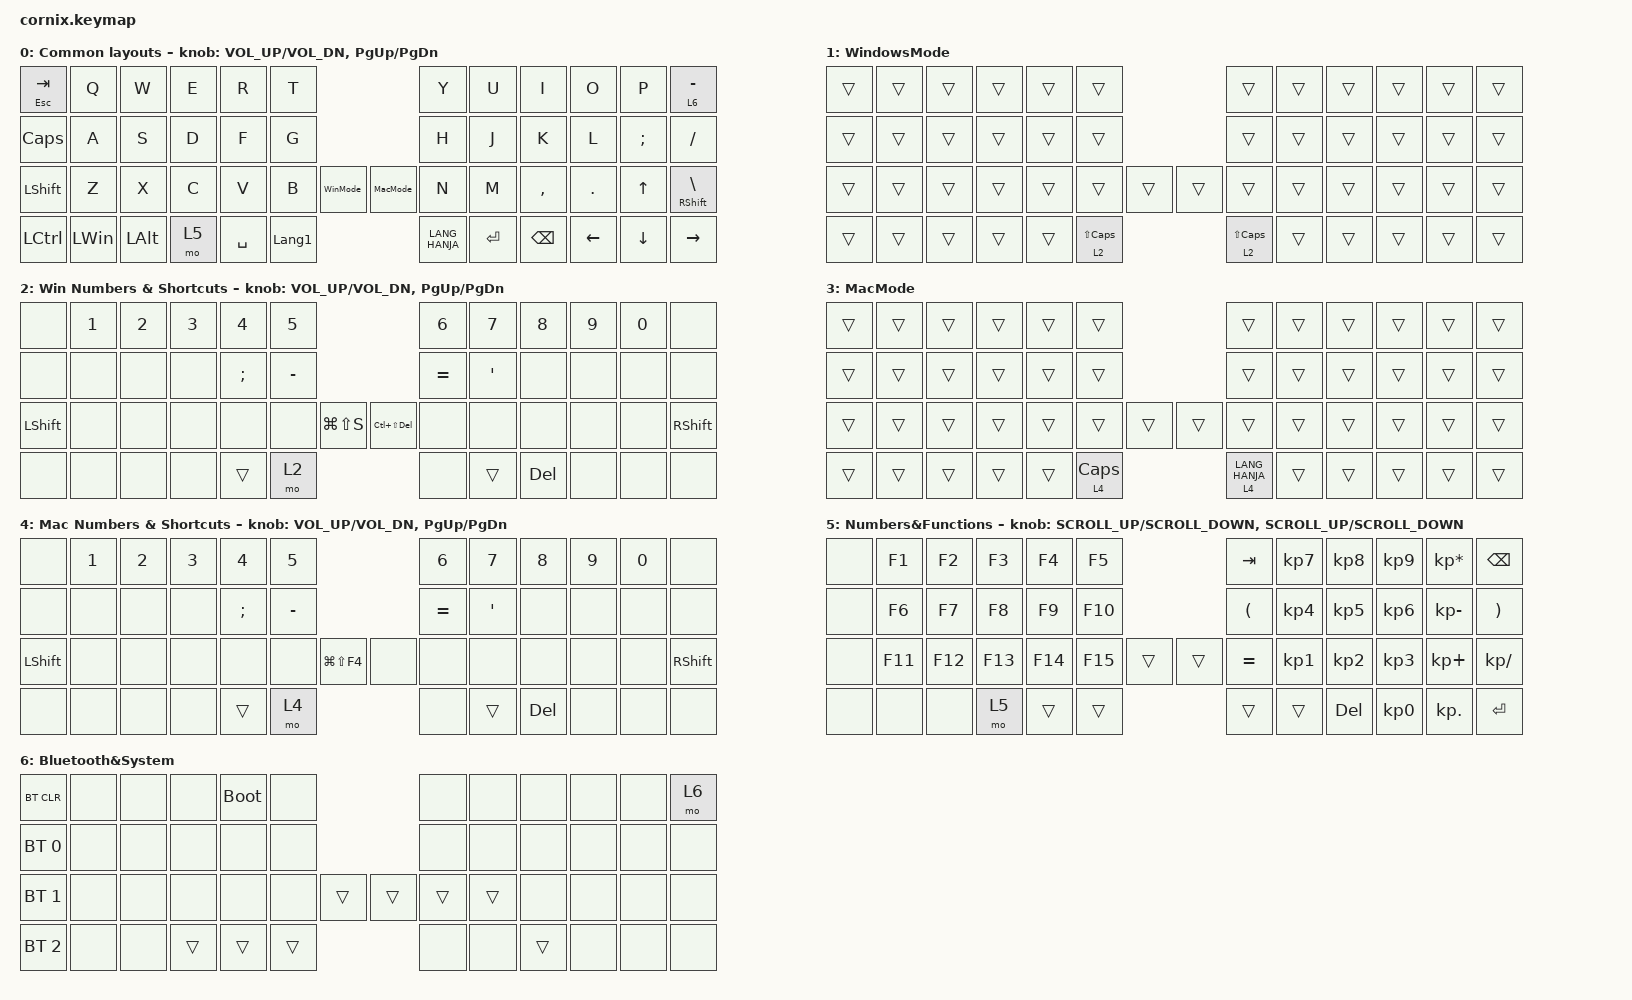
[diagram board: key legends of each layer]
/*
 * Copyright (c) 2020 The ZMK Contributors
 *
 * SPDX-License-Identifier: MIT
 */

#include "zmk-helpers/helper.h"
#include "includes/cornix54.h"

// tap windows for ctl alt and gui

#define HM_TAPPING_TERM 250
#define HM_TAPPING_REPEAT 210

// quick tapping for shift

#define HM_TAPPING_TERM_FAST 200
#define HM_PRIOR_IDLE 70
#define BASE 0
#define WIN 1
#define LOWER 2
#define RAISE 3
#define ADJUST 4
#define NAVI   5
#define NUM    6
#define DEBUG  7

// https://github.com/urob/zmk-config/tree/main#timeless-homerow-mods

#define KEYS_L LT0 LT1 LT2 LT3 LT4 LT5 LM0 LM1 LM2 LM3 LM4 LM5 LB0 LB1 LB2 LB3 LB4 LB5  // left hand
#define KEYS_R RT0 RT1 RT2 RT3 RT4 RT5 RM0 RM1 RM2 RM3 RM4 RM5 RB0 RB1 RB2 RB3 RB4 RB5  // right hand
#define THUMBS LH1 LH0 RH0 RH1
#define KEYS_T LH1 LH0 RH0 RH1
#define ZMK_POINTING_DEFAULT_SCRL_VAL 15

#include <behaviors.dtsi>
#include <dt-bindings/zmk/bt.h>
#include <dt-bindings/zmk/keys.h>

/ {
    // Activate ADJUST layer by pressing raise and lower

    behaviors {
        hm_l: homerow_mods_left {
            compatible = "zmk,behavior-hold-tap";
            #binding-cells = <2>;
            bindings = <&kp>, <&kp>;

            flavor = "balanced";
            tapping-term-ms = <HM_TAPPING_TERM>;
            quick-tap-ms = <200>;                // repeat on tap-into-hold
            require-prior-idle-ms = <HM_PRIOR_IDLE>;
            hold-trigger-key-positions = <KEYS_R KEYS_T>;
            hold-trigger-on-release;
        };

        hm_r: homerow_mods_right {
            compatible = "zmk,behavior-hold-tap";
            #binding-cells = <2>;
            bindings = <&kp>, <&kp>;

            flavor = "balanced";
            tapping-term-ms = <HM_TAPPING_TERM>;
            quick-tap-ms = <200>;
            require-prior-idle-ms = <HM_PRIOR_IDLE>;
            hold-trigger-key-positions = <KEYS_L KEYS_T>;
            hold-trigger-on-release;
        };

        // Positional Homerow mods for shift
        // Use faster tapping term and disable some features that may
        // cause false negatives.

        hm_shift_l: hm_shift_l {
            compatible = "zmk,behavior-hold-tap";
            #binding-cells = <2>;
            bindings = <&kp>, <&kp>;

            //flavor = "balanced";

            flavor = "balanced";
            tapping-term-ms = <HM_TAPPING_TERM_FAST>;
            quick-tap-ms = <200>;
            require-prior-idle-ms = <HM_PRIOR_IDLE>;
            hold-trigger-key-positions = <KEYS_R KEYS_T>;
            hold-trigger-on-release;
        };

        hm_shift_r: hm_shift_r {
            compatible = "zmk,behavior-hold-tap";
            #binding-cells = <2>;
            bindings = <&kp>, <&kp>;

            flavor = "balanced";
            tapping-term-ms = <HM_TAPPING_TERM_FAST>;
            quick-tap-ms = <200>;
            require-prior-idle-ms = <HM_PRIOR_IDLE>;
            hold-trigger-key-positions = <KEYS_L KEYS_T>;

            // for quick tapping; shift+~

            hold-trigger-on-release;
        };

        /*
         * Non-Positional Homerow Mods
         * Used for &mm_grescm_gui behavior on left hand.
         *
         * Usage: &hm LSHFT T
         * Tap: T
         * Tap-Tap-Hold: Repeat T
         * Hold: LSHIFT
         */

        hm: homerow_mods {
            compatible = "zmk,behavior-hold-tap";
            #binding-cells = <2>;
            bindings = <&kp>, <&kp>;

            flavor = "balanced";
            tapping-term-ms = <HM_TAPPING_TERM>;
            quick-tap-ms = <200>;
        };

        lt: layer_tap {
            compatible = "zmk,behavior-hold-tap";
            #binding-cells = <2>;
            bindings = <&mo>, <&kp>;

            flavor = "hold-preferred";
            tapping-term-ms = <HM_TAPPING_TERM>;
            quick-tap-ms = <200>;
        };

        tog_on: toggle_layer_on_only {
            compatible = "zmk,behavior-toggle-layer";
            label = "Toggle Layer ON";
            #binding-cells = <1>;
        };

        tog_off: toggle_layer_off_only {
            compatible = "zmk,behavior-toggle-layer";
            label = "Toggle Layer OFF";
            #binding-cells = <1>;
            toggle-mode = "off";
        };
    };

    conditional_layers {
        compatible = "zmk,conditional-layers";

        adjust_layer {
            if-layers = <6 4>;
            then-layer = <7>;
        };
    };

    combos {
        compatible = "zmk,combos";

        cb_ltm {
            bindings = <&kp ESC>;
            key-positions = <2 4>;
            layers = <0 2>;
        };

        cb_lm {
            bindings = <&kp TAB>;
            key-positions = <14 16>;
            layers = <0 2>;
        };

        cb_enter {
            bindings = <&kp RET>;
            key-positions = <21 19>;
            layers = <0 2>;
        };

        layer3 {
            bindings = <&kp N3>;
            key-positions = <5 6>;
        };

        layer4 {
            bindings = <&kp N4>;
            key-positions = <5 6>;
        };

        imput_parenthesis {
            bindings = <&imput_parenthesis>;
            key-positions = <20 21>;
        };

        imput_braces {
            bindings = <&imput_braces>;
            key-positions = <8 9>;
        };

        imput_brackets {
            bindings = <&imput_brackets>;
            key-positions = <34 35>;
        };
    };

    macros {
        imput_parenthesis: imput_parenthesis {
            compatible = "zmk,behavior-macro";
            #binding-cells = <0>;
            bindings = <&kp LPAR &kp RPAR &kp LEFT>;
            label = "IMPUT_PARENTHESIS";
        };

        WinMode: WinMode {
            compatible = "zmk,behavior-macro";
            #binding-cells = <0>;
            bindings = <&tog_off 3>, <&macro_wait_time 100>, <&tog_on 1>;

            label = "WINMODE";
        };

        MacMode: MacMode {
            compatible = "zmk,behavior-macro";
            #binding-cells = <0>;
            bindings = <&tog_off 1>, <&macro_wait_time 100>, <&tog_on 3>;

            label = "MACMODE";
        };

        imput_braces: imput_brackets {
            compatible = "zmk,behavior-macro";
            #binding-cells = <0>;
            bindings = <&kp LEFT_BRACE &kp RIGHT_BRACE &kp LEFT_ARROW>;
            label = "IMPUT_BRACKETS";
        };

        imput_brackets: imput_sqbrackets {
            compatible = "zmk,behavior-macro";
            #binding-cells = <0>;
            bindings = <&kp LEFT_BRACKET &kp RIGHT_BRACKET &kp LEFT_ARROW>;
            label = "IMPUT_SQBRACKETS";
        };
    };

    keymap {
        compatible = "zmk,keymap";

        Base_layer {
            display-name = "Common layouts";

            // ------------------------------------------------------------------------------------------------------------
            // |   `   |  1  |  2  |  3   |  4   |  5   |                   |  6   |  7    |  8    |  9   |   0   |       |
            // |  ESC  |  Q  |  W  |  E   |  R   |  T   |                   |  Y   |  U    |  I    |  O   |   P   | BKSPC |
            // |  TAB  |  A  |  S  |  D   |  F   |  G   |                   |  H   |  J    |  K    |  L   |   ;   |   '   |
            // | SHIFT |  Z  |  X  |  C   |  V   |  B   |  MUTE  |  |       |  N   |  M    |  ,    |  .   |   /   | SHIFT |
            //               | GUI | ALT  | CTRL | LOWER|  ENTER |  | SPACE | RAISE| CTRL  | ALT   | GUI  |

            bindings = <
&mt ESCAPE TAB  &kp Q         &kp W         &kp E  &kp R      &kp T                               &kp Y           &kp U      &kp I          &kp O     &kp P          &lt 6 MINUS
&kp CAPSLOCK    &kp A         &kp S         &kp D  &kp F      &kp G                               &kp H           &kp J      &kp K          &kp L     &kp SEMICOLON  &kp SLASH
&kp LEFT_SHIFT  &kp Z         &kp X         &kp C  &kp V      &kp B           &WinMode  &MacMode  &kp N           &kp M      &kp COMMA      &kp DOT   &kp UP         &mt RIGHT_SHIFT BACKSLASH
&kp LCTRL       &kp LEFT_WIN  &kp LEFT_ALT  &mo 5  &kp SPACE  &kp LANGUAGE_1                      &kp LANG_HANJA  &kp ENTER  &kp BACKSPACE  &kp LEFT  &kp DOWN       &kp RIGHT
            >;

            sensor-bindings = <&inc_dec_kp C_VOL_UP C_VOL_DN &inc_dec_kp PG_UP PG_DN>;
        };

        WindowsMode {
            bindings = <
&trans  &trans  &trans  &trans  &trans  &trans                              &trans              &trans  &trans  &trans  &trans  &trans
&trans  &trans  &trans  &trans  &trans  &trans                              &trans              &trans  &trans  &trans  &trans  &trans
&trans  &trans  &trans  &trans  &trans  &trans              &trans  &trans  &trans              &trans  &trans  &trans  &trans  &trans
&trans  &trans  &trans  &trans  &trans  &lt 2 LS(CAPSLOCK)                  &lt 2 LS(CAPSLOCK)  &trans  &trans  &trans  &trans  &trans
            >;
        };

        Win_Numbers {
            display-name = "Win Numbers & Shortcuts";

            // ------------------------------------------------------------------------------------------------------------
            // |   `   |  1  |  2  |  3   |  4   |  5   |                   |  6   |  7    |  8    |  9   |   0   |       |
            // |  ESC  |  Q  |  W  |  E   |  R   |  T   |                   |  Y   |  U    |  I    |  O   |   P   | BKSPC |
            // |  TAB  |  A  |  S  |  D   |  F   |  G   |                   |  H   |  J    |  K    |  L   |   ;   |   '   |
            // | SHIFT |  Z  |  X  |  C   |  V   |  B   |  MUTE  |  |       |  N   |  M    |  ,    |  .   |   /   | SHIFT |
            //               | GUI | ALT  | CTRL | LOWER|  ENTER |  | SPACE | RAISE| CTRL  | ALT   | GUI  |

            bindings = <
&none           &kp NUMBER_1  &kp NUMBER_2  &kp NUMBER_3  &kp NUMBER_4   &kp NUMBER_5                                     &kp NUMBER_6  &kp NUMBER_7  &kp NUMBER_8  &kp NUMBER_9  &kp NUMBER_0  &none
&none           &none         &none         &none         &kp SEMICOLON  &kp MINUS                                        &kp EQUAL     &kp SQT       &none         &none         &none         &none
&kp LEFT_SHIFT  &none         &none         &none         &none          &none         &kp LG(LS(S))  &kp LC(LS(DELETE))  &none         &none         &none         &none         &none         &kp RIGHT_SHIFT
&none           &none         &none         &none         &trans         &mo 2                                            &none         &trans        &kp DELETE    &none         &none         &none
            >;

            sensor-bindings = <&inc_dec_kp C_VOL_UP C_VOL_DN &inc_dec_kp PG_UP PG_DN>;
        };

        MacMode {
            bindings = <
&trans  &trans  &trans  &trans  &trans  &trans                          &trans            &trans  &trans  &trans  &trans  &trans
&trans  &trans  &trans  &trans  &trans  &trans                          &trans            &trans  &trans  &trans  &trans  &trans
&trans  &trans  &trans  &trans  &trans  &trans          &trans  &trans  &trans            &trans  &trans  &trans  &trans  &trans
&trans  &trans  &trans  &trans  &trans  &lt 4 CAPSLOCK                  &lt 4 LANG_HANJA  &trans  &trans  &trans  &trans  &trans
            >;
        };

        Mac_Numbers {
            display-name = "Mac Numbers & Shortcuts";

            // TODO: Some binds are waiting for shifted keycode support.
            // -------------------------------
            // |       |  F1 |  F2 |  F3  |  F4  |  F5  |                   |  F6  |  F7   |  F8   |  F9  |  F10  |  F11  |
            // |   `   |  1  |  2  |  3   |  4   |  5   |                   |  6   |  7    |  8    |  9   |   0   |  F12  |
            // |       |  !  |  @  |  #   |  $   |  %   |                   |  ^   |  &    |  *    |  (   |   )   |   |   |
            // |       |  =  |  -  |  +   |  {   |  }   |        |  |       |  [   |  ]    |  ;    |  :   |   \   |       |
            //               |     |      |      |      |        |  |       |      |       |       |      |

            bindings = <
&none           &kp NUMBER_1  &kp NUMBER_2  &kp NUMBER_3  &kp NUMBER_4   &kp NUMBER_5                         &kp NUMBER_6  &kp NUMBER_7  &kp NUMBER_8  &kp NUMBER_9  &kp NUMBER_0  &none
&none           &none         &none         &none         &kp SEMICOLON  &kp MINUS                            &kp EQUAL     &kp SQT       &none         &none         &none         &none
&kp LEFT_SHIFT  &none         &none         &none         &none          &none         &kp LG(LS(F4))  &none  &none         &none         &none         &none         &none         &kp RIGHT_SHIFT
&none           &none         &none         &none         &trans         &mo 4                                &none         &trans        &kp DELETE    &none         &none         &none
            >;

            sensor-bindings = <&inc_dec_kp C_VOL_UP C_VOL_DN &inc_dec_kp PG_UP PG_DN>;
        };

        NumPad {
            display-name = "Numbers&Functions";

            // ------------------------------------------------------------------------------------------------------------
            // | BTCLR | BT1  | BT2  |  BT3  |  BT4  |  BT5 |                |      |      |       |      |       |       |
            // |       | INS  | PSCR | GUI   |       |      |                | PGUP |      |   ^   |      |       |       |
            // |       | ALT  | CTRL | SHIFT |       | CAPS |                | PGDN |   <- |   v   |  ->  |  DEL  | BKSPC |
            // |       | UNDO | CUT  | COPY  | PASTE |      |      |  |      |      |      |       |      |       |       |
            //                |      |       |       |      |      |  |      |      |      |       |      |

            bindings = <
&none  &kp F1   &kp F2   &kp F3   &kp F4   &kp F5                   &kp TAB               &kp KP_NUMBER_7  &kp KP_NUMBER_8  &kp KP_NUMBER_9  &kp KP_MULTIPLY  &kp BACKSPACE
&none  &kp F6   &kp F7   &kp F8   &kp F9   &kp F10                  &kp LEFT_PARENTHESIS  &kp KP_NUMBER_4  &kp KP_NUMBER_5  &kp KP_NUMBER_6  &kp KP_MINUS     &kp RIGHT_PARENTHESIS
&none  &kp F11  &kp F12  &kp F13  &kp F14  &kp F15  &trans  &trans  &kp EQUAL             &kp KP_NUMBER_1  &kp KP_NUMBER_2  &kp KP_NUMBER_3  &kp KP_PLUS      &kp KP_DIVIDE
&none  &none    &none    &mo 5    &trans   &trans                   &trans                &trans           &kp DELETE       &kp KP_N0        &kp KP_DOT       &kp ENTER
            >;

            sensor-bindings =
                <&inc_dec_kp K_SCROLL_UP K_SCROLL_DOWN>,
                <&inc_dec_kp K_SCROLL_UP K_SCROLL_DOWN>;
        };

        system_settings {
            display-name = "Bluetooth&System";
            bindings = <
&bt BT_CLR    &none  &none  &none   &bootloader  &none                   &none   &none   &none   &none  &none  &mo 6
&bt BT_SEL 0  &none  &none  &none   &none        &none                   &none   &none   &none   &none  &none  &none
&bt BT_SEL 1  &none  &none  &none   &none        &none   &trans  &trans  &trans  &trans  &none   &none  &none  &none
&bt BT_SEL 2  &none  &none  &trans  &trans       &trans                  &none   &none   &trans  &none  &none  &none
            >;
        };
    };
};
